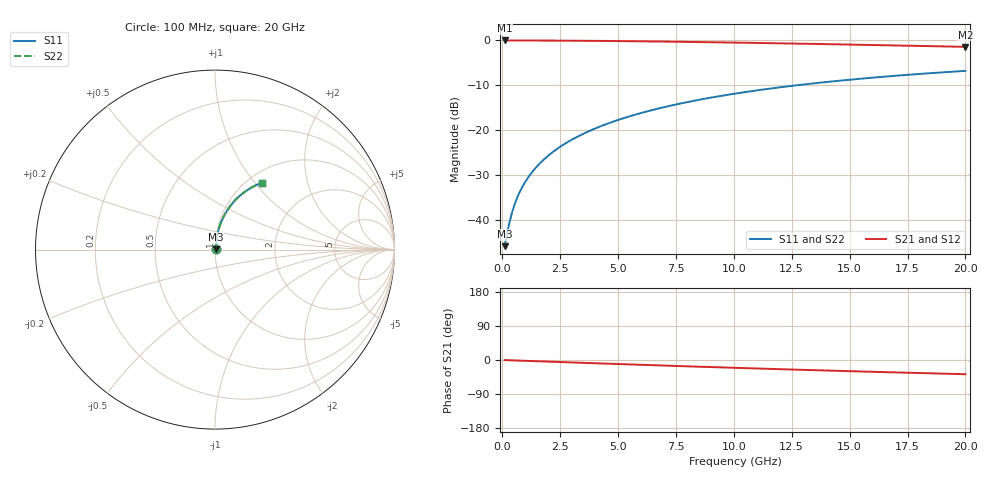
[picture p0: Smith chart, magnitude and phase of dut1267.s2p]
! Touchstone file exported from HFSS 2024.1.0
!  File:  C:/UserFiles/LocalFiles/RDL_TSV_Batchsim/temp_RDL_bottom_1267_1780246049.aedt
!  Generated:  12:50:12 AM Jun  1, 2026
!  Design:  RDL_bottom
!  Project:  temp_RDL_bottom_1267_1780246049
!  Setup:  Setup1
!  Solution:  Sweep
! Variables:
!  dtsv = 10.80580581um
!  hbump = 3um
!  htsv = 97.18um
!  ldown = 423.5um
!  lrdl = 100um
!  p = 40
!  p1 = 57.53um
!  rhole = 1um
!  t = 450um
!  tdown = 2.9um
!  trdl = 3.915915916um
!  wdown = 12.07um
!  wrdl = 20um
# GHz S MA R 50.000000
! Terminal data exported
! Port[1] = RDL1_T1
! Port[2] = RDL1_T2
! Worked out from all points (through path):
!   200 points, 100 MHz to 20 GHz, reference 50 ohm
!   highest |S21| = -0.04 dB at 100 MHz (marker M1); lowest = -1.5 dB at 20 GHz (marker M2)
!   group delay of S21, straight-line fit = 5.22 ps
!   lowest |S11| = -45.7 dB at 100 MHz (marker M3), VSWR 1.01, Z = 50.4 + j0.272 ohm
!   |S11| at or under -10 dB: start of sweep to 12.71 GHz
!   |S22| runs from -45.7 to -6.8 dB; largest |S21 - S12| = 2.6e-15
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0.1  0.005159 31.5  0.9956 -0.2  0.9956 -0.2  0.005159 31.5
! Gamma 0 0 0 0
! Port Impedance 50 0 50 0
0.2  0.00699 50.4  0.9955 -0.4  0.9955 -0.4  0.00699 50.4
0.3  0.009252 60.5  0.9955 -0.7  0.9955 -0.7  0.009252 60.5
0.4  0.01168 66.4  0.9954 -0.9  0.9954 -0.9  0.01168 66.4
0.5  0.01418 70.2  0.9952 -1.1  0.9952 -1.1  0.01418 70.2
0.6  0.01671 72.7  0.9951 -1.3  0.9951 -1.3  0.01671 72.7
0.8  0.02181 75.9  0.9948 -1.8  0.9948 -1.8  0.02181 75.9
1.1  0.0295 78.5  0.9943 -2.4  0.9943 -2.4  0.0295 78.5
1.5  0.03979 80.2  0.9936 -3.3  0.9936 -3.3  0.03979 80.2
1.8  0.04753 80.8  0.9929 -3.9  0.9929 -3.9  0.04753 80.8
2.1  0.05528 81.1  0.9922 -4.6  0.9922 -4.6  0.05528 81.1
2.7  0.07081 81.1  0.9904 -5.8  0.9904 -5.8  0.07081 81.2
3.5  0.09152 80.7  0.9874 -7.5  0.9874 -7.5  0.09152 80.7
4.2  0.1096 79.9  0.9843 -9.0  0.9843 -9.0  0.1096 79.9
5  0.1302 78.9  0.9801 -10.7  0.9801 -10.7  0.1302 78.9
5.9  0.1532 77.6  0.9748 -12.5  0.9748 -12.5  0.1532 77.6
6.8  0.176 76.2  0.9688 -14.3  0.9688 -14.3  0.176 76.2
8.3  0.2133 73.8  0.9577 -17.3  0.9577 -17.3  0.2133 73.8
10.1  0.2567 70.7  0.9427 -20.8  0.9427 -20.8  0.2567 70.7
13.4  0.3312 65.2  0.9122 -26.8  0.9122 -26.8  0.3313 65.2
16.7  0.3982 59.8  0.8792 -32.3  0.8792 -32.3  0.3982 59.8
20  0.4572 54.7  0.8454 -37.5  0.8454 -37.5  0.4572 54.7
